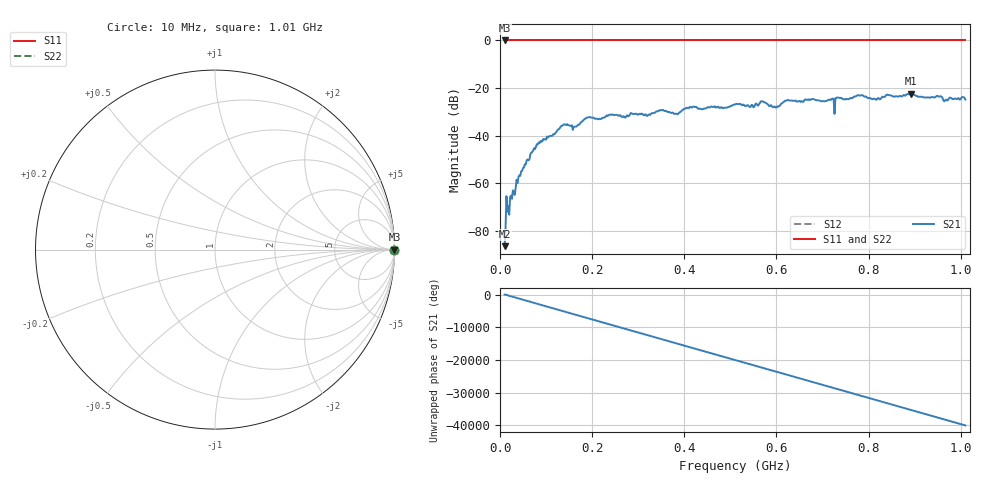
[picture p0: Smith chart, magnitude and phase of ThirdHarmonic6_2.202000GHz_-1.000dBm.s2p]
! 8/17/2025 2:14:48 AM
! C:\ANRITSUVNA\TEMP\TEMP.S2P
! CHANNEL.1
! TR.MEASUREMENT
! RAW.DATA
! RF.CORRECTION.OFF
! AVERAGING.OFF
! IF.BANDWIDTH: 5KHZ
! SWEEPTYPE:  FREQ.SWEEP(Linear)
! Reference Plane Port Info
! PORT:  PORT1  PORT2
! DISTANCE:  0  m  0  m
! TIME:  0  s  0  s
! PHASE.OFFSET:  0  deg.  0  deg.
! LOSS:  0  dB  0  dB
! REF.LOSS:  0  dB  0  dB
! REF.FREQ:  0  Hz  0  Hz
! Power Info
! POWER:  -20  dBm  -20  dBm
! EFF.POWER:  -20  dBm  -20  dBm
! SOURCE.ATTEN:  0  dB  0  dB
! TEST.ATTEN:  0  dB  0  dB
# GHZ S RI R 50.0
! FREQ.GHZ  S11RE  S11IM  S21RE  S21IM  S12RE  S12IM  S22RE  S22IM
!; PortSelection: Port_12
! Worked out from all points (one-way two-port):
!   501 points, 10 MHz to 1.01 GHz, reference 50 ohm
!   highest |S21| = -22.41 dB at 892 MHz (marker M1); lowest = -86.4 dB at 10 MHz (marker M2)
!   lowest |S11| = 0.0 dB at 10 MHz (marker M3)
!   |S11| at or under -10 dB: nowhere
!   |S22| runs from 0.0 to 0.0 dB; largest |S21 - S12| = 1.1
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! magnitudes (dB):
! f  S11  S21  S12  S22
! 10 MHz  0.0  -86.4  0.0  0.0
! 18 MHz  0.0  -69.5  0.0  0.0
! 40 MHz  0.0  -57.4  0.0  0.0
! 76 MHz  0.0  -45.6  0.0  0.0
! 136 MHz  0.0  -35.7  0.0  0.0
! 162 MHz  0.0  -36.2  0.0  0.0
! 178 MHz  0.0  -34.0  0.0  0.0
! 344 MHz  0.0  -29.6  0.0  0.0
! 382 MHz  0.0  -30.8  0.0  0.0
! 416 MHz  0.0  -28.2  0.0  0.0
! 510 MHz  0.0  -26.9  0.0  0.0
! 546 MHz  0.0  -27.0  0.0  0.0
! 570 MHz  0.0  -25.6  0.0  0.0
! 596 MHz  0.0  -27.8  0.0  0.0
! 622 MHz  0.0  -25.2  0.0  0.0
! 678 MHz  0.0  -24.6  0.0  0.0
! 722 MHz  0.0  -24.4  0.0  0.0
! 732 MHz  0.0  -24.0  0.0  0.0
! 814 MHz  0.0  -24.6  0.0  0.0
! 844 MHz  0.0  -22.9  0.0  0.0
! 892 MHz  0.0  -22.4  0.0  0.0
! 1.01 GHz  0.0  -24.8  0.0  0.0
